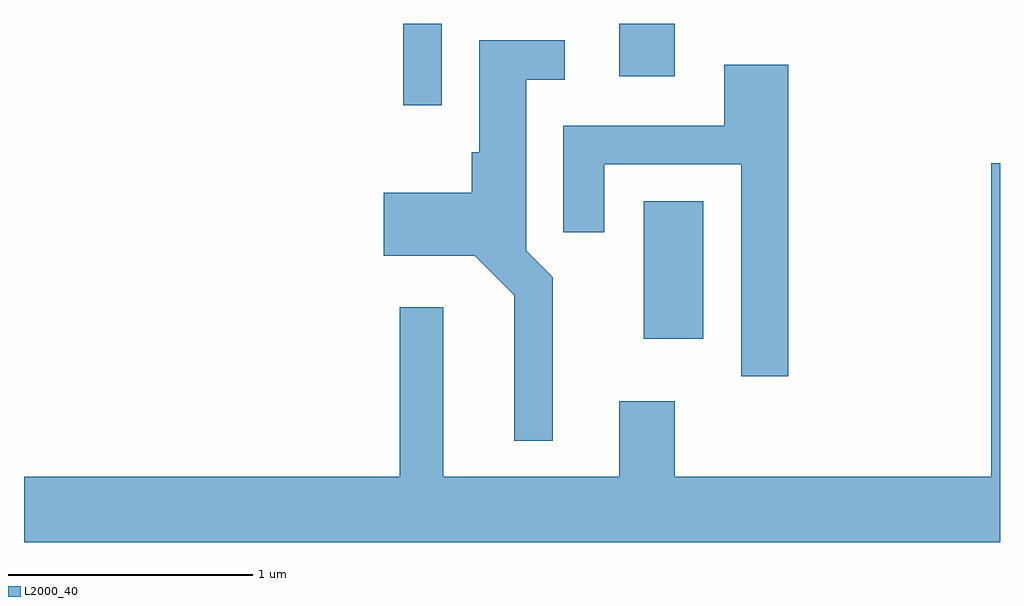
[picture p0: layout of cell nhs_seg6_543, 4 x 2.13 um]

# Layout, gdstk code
import gdstk
lib = gdstk.Library(unit=1e-6, precision=1e-09)
def R(c, l, rs):  # rectangles x0, y0, x1, y1
    for r in rs: c.add(gdstk.rectangle(r[:2], r[2:], *l))
def P(c, l, *ps):  # polygons
    for p in ps: c.add(gdstk.Polygon(p, *l))
L2000_40 = (2000, 40)

nhs_seg6_543 = lib.new_cell('nhs_seg6_543')
R(nhs_seg6_543, L2000_40, [(204.151,1550.871,204.394,1551.434), (203.166,1551.828,203.324,1552.162), (204.051,1551.946,204.279,1552.162)])
P(nhs_seg6_543, L2000_40, [(203.779,1551.122),(203.669,1551.232),(203.669,1551.931),(203.828,1551.931),(203.828,1552.094),(203.476,1552.094),(203.476,1551.634),(203.446,1551.634),(203.446,1551.469),(203.086,1551.469),(203.086,1551.211),(203.459,1551.211),(203.621,1551.049),(203.621,1550.453),(203.779,1550.453)],
  [(204.744,1551.994),(204.481,1551.994),(204.481,1551.744),(203.821,1551.744),(203.821,1551.308),(203.989,1551.308),(203.989,1551.586),(204.551,1551.586),(204.551,1550.716),(204.744,1550.716)],
  [(205.611,1551.589),(205.576,1551.589),(205.576,1550.304),(204.279,1550.304),(204.279,1550.614),(204.051,1550.614),(204.051,1550.304),(203.329,1550.304),(203.329,1550.999),(203.151,1550.999),(203.151,1550.304),(201.611,1550.304),(201.611,1550.036),(205.611,1550.036)])

lib.write_gds('nhs_seg6_543.gds')
